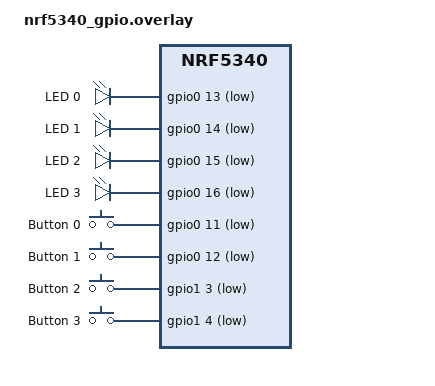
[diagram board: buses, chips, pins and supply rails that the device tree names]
/dts-v1/;
/plugin/;

/ {
    aliases {
        led0 = &led0;
        led1 = &led1;
        led2 = &led2;
        led3 = &led3;
        sw0 = &button0; // 使用 swX 别名兼容src代码
        sw1 = &button1;
        sw2 = &button2;
        sw3 = &button3;
    };

    leds {
        compatible = "gpio-leds";
        led0: led_0 {
            gpios = <&gpio0 13 GPIO_ACTIVE_LOW>;
            label = "LED 0";
        };
        led1: led_1 {
            gpios = <&gpio0 14 GPIO_ACTIVE_LOW>;
            label = "LED 1";
        };
        led2: led_2 {
            gpios = <&gpio0 15 GPIO_ACTIVE_LOW>;
            label = "LED 2";
        };
        led3: led_3 {
            gpios = <&gpio0 16 GPIO_ACTIVE_LOW>;
            label = "LED 3";
        };
    };

    buttons {
        compatible = "gpio-keys";
        button0: button_0 {
            gpios = <&gpio0 11 (GPIO_ACTIVE_LOW | GPIO_PULL_UP)>;
            label = "Button 0";
            zephyr,code = <INPUT_KEY_0>;
        };
        button1: button_1 {
            gpios = <&gpio0 12 (GPIO_ACTIVE_LOW | GPIO_PULL_UP)>;
            label = "Button 1";
            zephyr,code = <INPUT_KEY_1>;
        };
        button2: button_2 {
            gpios = <&gpio1 3 (GPIO_ACTIVE_LOW | GPIO_PULL_UP)>;
            label = "Button 2";
            zephyr,code = <INPUT_KEY_2>;
        };
        button3: button_3 {
            gpios = <&gpio1 4 (GPIO_ACTIVE_LOW | GPIO_PULL_UP)>;
            label = "Button 3";
            zephyr,code = <INPUT_KEY_3>;
        };
    };
};
